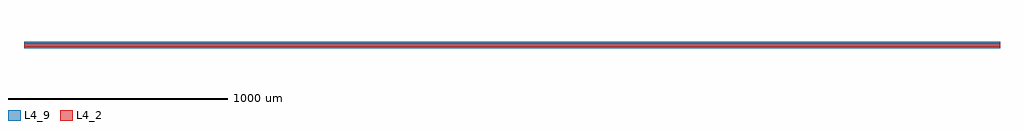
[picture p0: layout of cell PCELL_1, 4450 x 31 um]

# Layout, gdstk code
import gdstk
lib = gdstk.Library(unit=1e-6, precision=5e-09)
def R(c, l, rs):  # rectangles x0, y0, x1, y1
    for r in rs: c.add(gdstk.rectangle(r[:2], r[2:], *l))
def P(c, l, *ps):  # polygons
    for p in ps: c.add(gdstk.Polygon(p, *l))
L4_2 = (4, 2)
L4_9 = (4, 9)

wg_trace_1 = lib.new_cell('WG_TRACE_1')
R(wg_trace_1, L4_2, [(0,-7.5,50,7.5)])
P(wg_trace_1, L4_9, [(0,-15.5),(50,-15.5),(50,-7.5),(50,7.5),(50,15.5),(0,15.5),(0,7.5),(0,-7.5)])

pcell_1_link1 = lib.new_cell('PCELL_1_link1')
R(pcell_1_link1, L4_2, [(-3950,-7.5,400,7.5)])
P(pcell_1_link1, L4_9, [(400,15.5),(-3950,15.5),(-3950,7.5),(-3950,-7.5),(-3950,-15.5),(400,-15.5),(400,-7.5),(400,7.5)])

pcell_1 = lib.new_cell('PCELL_1')
pcell_1.add(gdstk.Reference(wg_trace_1, (-4000,0)))
pcell_1.add(gdstk.Reference(wg_trace_1, (400,0)))
pcell_1.add(gdstk.Reference(pcell_1_link1, (0,0)))

lib.write_gds('PCELL_1.gds')
